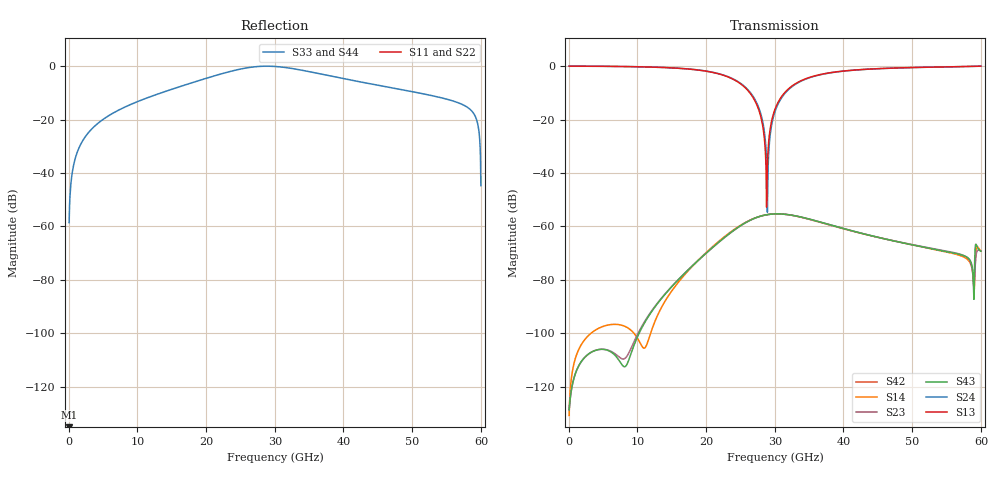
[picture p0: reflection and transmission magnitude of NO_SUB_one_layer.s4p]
! TOUCHSTONE file generated by CST MICROWAVE STUDIO
! Date and time: Wed Apr 16 10:23:19 2025
! Project name: NO_SUB_one_layer.cst
! Parameters = {h=0; lambda=10; period=5; phi=0; theta=0; thickness=0; w_mesh_1=2; w_mesh_2=2; w_patch_1=1.6; w_patch_2=1.6}
! Header version: 2018
! Port assignment regex: !\s*Touchstone port\s*([0-9]+)\s*=\s*(CST MWS port|CST DS port)\s*([0-9]+|Zmin|Zmax)\s*\(\"(.*)\"\)(\s*mode\s*([0-9]+))?.*
! Touchstone port assignment:
! Touchstone port 1 = CST MWS port Zmin ("") mode 1
! Touchstone port 2 = CST MWS port Zmin ("") mode 2
! Touchstone port 3 = CST MWS port Zmax ("") mode 1
! Touchstone port 4 = CST MWS port Zmax ("") mode 2
! S-Parameters are not renormalized. Unphysical impedance of 50 will be written to the file.
# GHz S RI R 50
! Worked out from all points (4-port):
!   1003 points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, 60 MHz to 60 GHz, reference per port
!   strongest paths, dB at 60 MHz, 15 GHz, 30 GHz, 45 GHz, 60 GHz:
!     S13: 0.0, -0.6, -16.4, -0.9, 0.0
!     S24: 0.0, -0.6, -17.3, -1.0, 0.0
!     S43: -128.7, -82.6, -55.3, -64.1, -69.3
!     S23: -128.6, -82.5, -55.3, -64.1, -69.2
!     S14: -130.8, -84.2, -55.3, -64.1, -69.2
!     S42: -, -, -, -, -
!   lowest |S11| = - dB at 60 MHz (marker M1), VSWR 1.00
!   |S11| at or under -10 dB: start of sweep to end of sweep
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0.06  0 0  0 0  1 -0.00117  -1.57e-09 -2.88e-07
      0 0  0 0  4.02e-08 -3.69e-07  1 -0.00117
      0 0  0 0  3.09e-06 -0.00118  6.33e-09 -2.96e-07
      0 0  0 0  3.51e-08 -3.65e-07  1.24e-06 -0.00117
4.5  0 0  0 0  0.9915 -0.0896  -9.24e-07 -1.26e-05
     0 0  0 0  -3.7e-06 -3.33e-06  0.9916 -0.0894
     0 0  0 0  -0.00838 -0.0899  -1.45e-06 -1.19e-05
     0 0  0 0  -3.23e-06 -3.78e-06  -0.00823 -0.0896
26.94  0 0  0 0  0.0609 -0.2382  0.000686 -0.00123
       0 0  0 0  0.000693 -0.00121  0.0679 -0.2506
       0 0  0 0  -0.9391 -0.2402  0.000684 -0.00123
       0 0  0 0  0.000695 -0.00122  -0.9321 -0.2526
28.92  0 0  0 0  0.000162 0.0135  -1.51e-05 -0.00166
       0 0  0 0  -1.56e-05 -0.00166  4.79e-06 -0.00184
       0 0  0 0  -0.9998 0.0114  -1.49e-05 -0.00167
       0 0  0 0  -1.54e-05 -0.00166  -1 -0.00396
34.08  0 0  0 0  0.3045 0.4615  -0.00134 -0.000579
       0 0  0 0  -0.00135 -0.000587  0.2942 0.4569
       0 0  0 0  -0.6955 0.459  -0.00134 -0.000593
       0 0  0 0  -0.00134 -0.000593  -0.7058 0.4544
57.6  0 0  0 0  0.9658 0.1847  -0.000103 0.000243
      0 0  0 0  -0.000138 0.000245  0.9652 0.1856
      0 0  0 0  -0.0344 0.1803  -0.000102 0.000245
      0 0  0 0  -0.00011 0.000258  -0.0348 0.181
60  0 0  0 0  0.9999 0.0104  -4.53e-06 0.000347
    0 0  0 0  2.08e-06 0.000347  0.9999 0.0121
    0 0  0 0  -0.000126 0.00579  -4.19e-05 0.000348
    0 0  0 0  -2.87e-05 0.000342  -0.000155 0.00753
